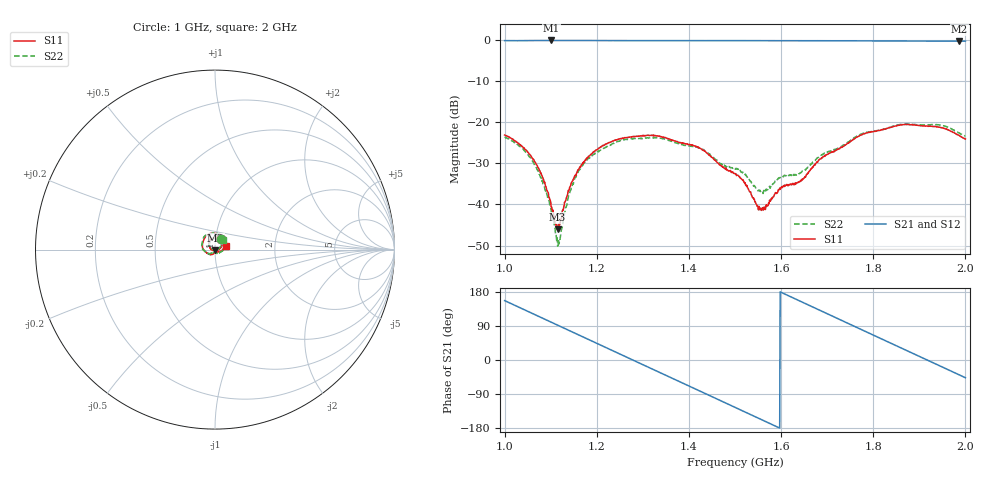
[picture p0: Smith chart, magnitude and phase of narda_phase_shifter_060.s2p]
#  HZ  S  DB  R  50.00
! Rohde & Schwarz Vector Network Analyzer
! Rohde-Schwarz,ZNB8-4Port,1311601044102961,2.82
! Created: UTC 3/4/2022, 4:05:22 PM
! freq[Hz]  db:S11  ang:S11  db:S21  ang:S21  db:S12  ang:S12  db:S22  ang:S22
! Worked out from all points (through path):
!   1001 points, 1 GHz to 2 GHz, reference 50 ohm
!   highest |S21| = -0.15 dB at 1.101 GHz (marker M1); lowest = -0.3 dB at 1.987 GHz (marker M2)
!   group delay of S21, straight-line fit = 1.57 ns
!   lowest |S11| = -46.1 dB at 1.115 GHz (marker M3), VSWR 1.01, Z = 50.1 - j0.483 ohm
!   |S11| at or under -10 dB: start of sweep to end of sweep
!   |S22| runs from -50.2 to -20.4 dB; largest |S21 - S12| = 0.0025
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1e9  -23.12 61.4  -0.18 156.7  -0.17 156.7  -23.61 61.7
1.06e9  -28.80 20.2  -0.17 123.1  -0.16 123.1  -29.24 28.1
1.083e9  -33.55 4.0  -0.15 110.1  -0.15 110.1  -34.96 10.8
1.101e9  -40.60 -19.3  -0.15 99.9  -0.14 99.9  -41.49 -21.8
1.115e9  -46.08 -75.9  -0.15 92.0  -0.15 92.0  -50.16 -75.3
1.12e9  -44.63 -111.7  -0.15 89.1  -0.15 89.1  -48.71 -134.3
1.143e9  -35.51 -171.1  -0.15 76.1  -0.15 76.2  -36.65 165.4
1.167e9  -30.27 159.5  -0.16 62.6  -0.15 62.6  -30.78 154.5
1.254e9  -23.96 105.5  -0.18 13.6  -0.17 13.6  -24.41 101.0
1.334e9  -23.42 57.1  -0.20 -31.4  -0.19 -31.5  -23.83 56.2
1.419e9  -26.11 8.1  -0.19 -79.3  -0.19 -79.3  -26.03 2.8
1.459e9  -29.51 -16.1  -0.18 -101.8  -0.19 -101.8  -29.22 -21.7
1.5e9  -32.49 -33.5  -0.19 -124.9  -0.19 -124.9  -31.38 -51.9
1.559e9  -41.10 -54.9  -0.20 -158.2  -0.19 -158.2  -37.02 -94.1
1.613e9  -35.27 -84.1  -0.21 171.3  -0.20 171.3  -32.88 -112.0
1.667e9  -31.20 -113.5  -0.21 140.9  -0.20 140.9  -30.14 -139.2
1.751e9  -24.65 -172.8  -0.23 93.4  -0.23 93.5  -24.41 -174.2
1.791e9  -22.48 159.6  -0.25 70.9  -0.25 70.9  -22.42 167.0
1.834e9  -21.39 133.5  -0.27 46.6  -0.27 46.7  -21.30 143.2
1.911e9  -20.96 85.6  -0.30 3.3  -0.29 3.4  -20.68 101.2
1.987e9  -23.25 29.5  -0.31 -39.5  -0.30 -39.4  -22.69 60.2
2e9  -24.10 19.9  -0.31 -46.8  -0.31 -46.8  -23.30 51.4
